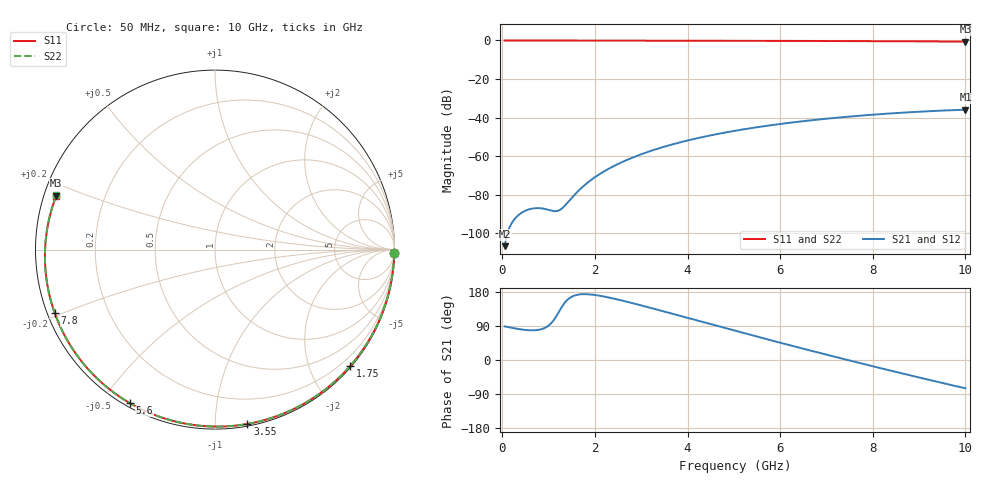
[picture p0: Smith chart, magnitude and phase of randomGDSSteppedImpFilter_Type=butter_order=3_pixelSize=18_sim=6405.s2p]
! freq	dB(S11)	phase(S11)	dB(S12)	phase(S12)
!  dB(S21)	phase(S21)	dB(S22)	phase(S22)
!S-par simulation data
#  GHz  S  DB  R 50
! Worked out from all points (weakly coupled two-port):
!   200 points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, 50 MHz to 10 GHz, reference 50 ohm
!   highest |S21| = -35.90 dB at 10 GHz (marker M1); lowest = -106.7 dB at 50 MHz (marker M2)
!   lowest |S11| = -0.6 dB at 10 GHz (marker M3), VSWR 29.32, Z = 1.75 + j8.27 ohm
!   |S11| at or under -10 dB: nowhere
!   |S22| runs from -0.6 to 0.0 dB; largest |S21 - S12| = 0
!   S11 on the Smith chart (normalised r, x): 50 MHz: open; 1.75 GHz: 0.02, -2.69; 3.55 GHz: 0.01, -1.20; 5.6 GHz: 0.01, -0.59; 7.8 GHz: 0.02, -0.19; 10 GHz: 0.04, +0.17
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0.05  -0.00 -1.2  -106.66 88.7  -106.66 88.7  -0.00 -1.2
0.45  -0.02 -10.6  -88.86 79.9  -88.86 79.9  -0.02 -10.6
0.8  -0.02 -18.9  -86.95 80.0  -86.95 80.0  -0.02 -18.9
1.55  -0.05 -36.2  -80.28 169.7  -80.28 169.7  -0.05 -36.2
1.75  -0.05 -40.7  -75.58 173.7  -75.58 173.7  -0.05 -40.7
1.9  -0.06 -44.1  -72.65 173.0  -72.65 173.0  -0.06 -44.1
2.05  -0.06 -47.4  -70.11 170.6  -70.11 170.6  -0.06 -47.5
2.25  -0.07 -51.9  -67.17 166.2  -67.17 166.2  -0.07 -51.9
2.45  -0.07 -56.2  -64.62 160.8  -64.62 160.8  -0.07 -56.3
2.9  -0.08 -65.9  -59.91 147.2  -59.91 147.2  -0.08 -65.9
3.4  -0.10 -76.4  -55.79 131.0  -55.79 131.0  -0.10 -76.4
3.55  -0.10 -79.4  -54.72 126.1  -54.72 126.1  -0.10 -79.5
4.3  -0.13 -94.4  -50.21 101.2  -50.21 101.2  -0.13 -94.5
5.05  -0.16 -108.8  -46.73 76.4  -46.73 76.4  -0.16 -108.8
5.6  -0.19 -119.0  -44.64 58.5  -44.64 58.5  -0.19 -119.0
6.15  -0.22 -129.0  -42.85 40.8  -42.85 40.8  -0.22 -129.0
6.7  -0.26 -138.8  -41.32 23.5  -41.32 23.5  -0.26 -138.9
7.25  -0.30 -148.6  -40.00 6.4  -40.00 6.4  -0.30 -148.6
7.8  -0.35 -158.3  -38.86 -10.4  -38.86 -10.4  -0.35 -158.4
8.35  -0.41 -168.1  -37.89 -27.0  -37.89 -27.0  -0.41 -168.2
9.2  -0.50 176.4  -36.70 -52.0  -36.70 -52.0  -0.50 176.3
10  -0.59 161.2  -35.90 -74.6  -35.90 -74.6  -0.59 161.1
